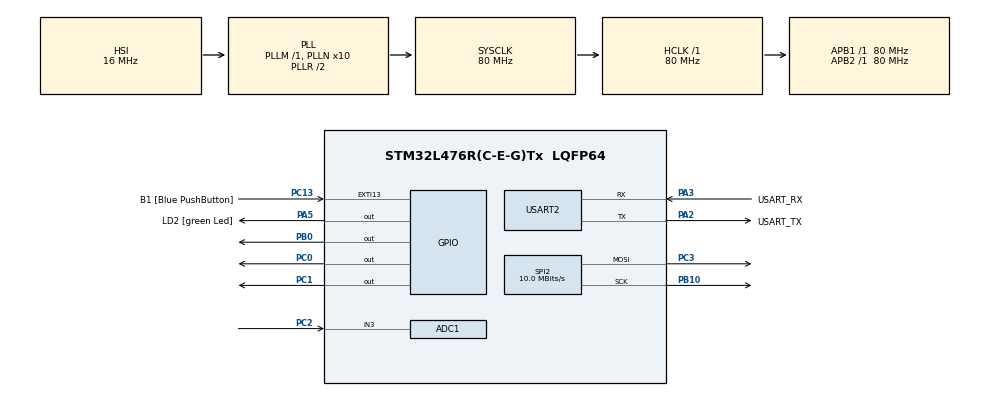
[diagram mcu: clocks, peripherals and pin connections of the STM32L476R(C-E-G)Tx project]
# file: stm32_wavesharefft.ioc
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ADC1.Channel-0\#ChannelRegularConversion=ADC_CHANNEL_3
ADC1.ExternalTrigConv=ADC_EXTERNALTRIG_T3_TRGO
ADC1.NbrOfConversionFlag=1
ADC1.OffsetNumber-0\#ChannelRegularConversion=ADC_OFFSET_NONE
ADC1.Rank-0\#ChannelRegularConversion=1
ADC1.SamplingTime-0\#ChannelRegularConversion=ADC_SAMPLETIME_2CYCLES_5
ADC1.master=1
Mcu.Family=STM32L4
Mcu.Name=STM32L476R(C-E-G)Tx
Mcu.Package=LQFP64
NVIC.ADC1_2_IRQn=true\:1\:0\:true\:false\:true\:true\:true\:true
NVIC.PriorityGroup=NVIC_PRIORITYGROUP_1
PA13\ (JTMS-SWDIO).GPIO_Label=TMS
PA13\ (JTMS-SWDIO).Mode=Serial_Wire
PA13\ (JTMS-SWDIO).Signal=SYS_JTMS-SWDIO
PA14\ (JTCK-SWCLK).GPIO_Label=TCK
PA14\ (JTCK-SWCLK).Mode=Serial_Wire
PA14\ (JTCK-SWCLK).Signal=SYS_JTCK-SWCLK
PA2.GPIO_Label=USART_TX
PA2.GPIO_Mode=GPIO_MODE_AF_PP
PA2.GPIO_PuPd=GPIO_NOPULL
PA2.GPIO_Speed=GPIO_SPEED_FREQ_VERY_HIGH
PA2.Mode=Asynchronous
PA2.Signal=USART2_TX
PA3.GPIO_Label=USART_RX
PA3.GPIO_Mode=GPIO_MODE_AF_PP
PA3.GPIO_PuPd=GPIO_NOPULL
PA3.GPIO_Speed=GPIO_SPEED_FREQ_VERY_HIGH
PA3.Mode=Asynchronous
PA3.Signal=USART2_RX
PA5.GPIO_Label=LD2 [green Led]
PA5.GPIO_ModeDefaultOutputPP=GPIO_MODE_OUTPUT_PP
PA5.GPIO_PuPd=GPIO_NOPULL
PA5.GPIO_Speed=GPIO_SPEED_FREQ_LOW
PA5.Signal=GPIO_Output
PB0.Signal=GPIO_Output
PB10.Mode=TX_Only_Simplex_Unidirect_Master
PB10.Signal=SPI2_SCK
PB3\ (JTDO-TRACESWO).GPIO_Label=SWO
PB3\ (JTDO-TRACESWO).Signal=SYS_JTDO-SWO
PC0.Signal=GPIO_Output
PC1.Signal=GPIO_Output
PC13.GPIO_Label=B1 [Blue PushButton]
PC13.GPIO_ModeDefaultEXTI=GPIO_MODE_IT_FALLING
PC13.GPIO_PuPd=GPIO_NOPULL
PC13.Signal=GPXTI13
PC14-OSC32_IN\ (PC14).Mode=LSE-External-Oscillator
PC14-OSC32_IN\ (PC14).Signal=RCC_OSC32_IN
PC15-OSC32_OUT\ (PC15).Mode=LSE-External-Oscillator
PC15-OSC32_OUT\ (PC15).Signal=RCC_OSC32_OUT
PC2.Signal=ADCx_IN3
PC3.Mode=TX_Only_Simplex_Unidirect_Master
PC3.Signal=SPI2_MOSI
PH0-OSC_IN\ (PH0).Signal=RCC_OSC_IN
PH1-OSC_OUT\ (PH1).Signal=RCC_OSC_OUT
ProjectManager.HeapSize=0x200
ProjectManager.StackSize=0x400
ProjectManager.TargetToolchain=STM32CubeIDE
RCC.ADCFreq_Value=64000000
RCC.AHBFreq_Value=80000000
RCC.APB1Freq_Value=80000000
RCC.APB1TimFreq_Value=80000000
RCC.APB2Freq_Value=80000000
RCC.APB2TimFreq_Value=80000000
RCC.CortexFreq_Value=80000000
RCC.HCLKFreq_Value=80000000
RCC.HSE_VALUE=8000000
RCC.HSI_VALUE=16000000
RCC.MSI_VALUE=4000000
RCC.PLLN=10
RCC.PLLSourceVirtual=RCC_PLLSOURCE_HSI
RCC.PREFETCH_ENABLE=1
RCC.SYSCLKFreq_VALUE=80000000
RCC.SYSCLKSource=RCC_SYSCLKSOURCE_PLLCLK
RCC.USBFreq_Value=64000000
RCC.VCOOutputFreq_Value=160000000
SH.ADCx_IN3.0=ADC1_IN3,IN3-Single-Ended
SPI2.BaudRatePrescaler=SPI_BAUDRATEPRESCALER_8
SPI2.CalculateBaudRate=10.0 MBits/s
SPI2.DataSize=SPI_DATASIZE_8BIT
SPI2.Direction=SPI_DIRECTION_2LINES
SPI2.Mode=SPI_MODE_MASTER
SPI2.VirtualType=VM_MASTER
TIM3.Period=2-1
TIM3.Prescaler=5000-1
TIM3.TIM_MasterOutputTrigger=TIM_TRGO_UPDATE
USART2.VirtualMode-Asynchronous=VM_ASYNC
VP_TIM3_VS_ClockSourceINT.Mode=Internal
board=NUCLEO-L476RG

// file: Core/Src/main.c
/* USER CODE BEGIN Header */
/**
  ******************************************************************************
  * @file           : main.c
  * @brief          : Main program body
  ******************************************************************************
  * @attention
  *
  * Copyright (c) 2024 STMicroelectronics.
  * All rights reserved.
  *
  * This software is licensed under terms that can be found in the LICENSE file
  * in the root directory of this software component.
  * If no LICENSE file comes with this software, it is provided AS-IS.
  *
  ******************************************************************************
  */
/* USER CODE END Header */
#include "main.h"
#include "adc.h"
#include "spi.h"
#include "tim.h"
#include "usart.h"
#include "gpio.h"

/* USER CODE BEGIN Includes */
#include "st7735.h"
#include "fft.h"
#include <math.h>
#include <stdio.h>
#include <stdbool.h>
/* USER CODE END Includes */

/* USER CODE BEGIN PD */
#define FFT_LENGTH		8
#define SAMPLING_RATE	8000
/* USER CODE END PD */

/* USER CODE BEGIN PV */
volatile bool adc_conv_cplt;
/* USER CODE END PV */

void SystemClock_Config(void);

/* USER CODE BEGIN 0 */
void HAL_ADC_ConvCpltCallback (ADC_HandleTypeDef * hadc)
{
	adc_conv_cplt = true;
}
/* USER CODE END 0 */

int main(void)
{

  /* MCU Configuration--------------------------------------------------------*/

  /* Reset of all peripherals, Initializes the Flash interface and the Systick. */
  HAL_Init();

  /* Configure the system clock */
  SystemClock_Config();

  /* Initialize all configured peripherals */
  MX_GPIO_Init();
  MX_USART2_UART_Init();
  MX_SPI2_Init();
  MX_ADC1_Init();
  MX_TIM3_Init();
  /* USER CODE BEGIN 2 */
  float fft_in[FFT_LENGTH] = {1, 2, 3, 4, 5, 6, 7};
  float fft_out[FFT_LENGTH*2];
  float fft_mag[FFT_LENGTH];
  uint16_t adc_value;
  uint8_t voltage_index = 0;

  HAL_TIM_Base_Start(&htim3);
  HAL_ADC_Start_IT(&hadc1);

  FFT_Init(FFT_LENGTH);
  ST7735_Init();
  ST7735_Clear();
  ST7735_Update();

  /* USER CODE END 2 */

  /* Infinite loop */
  /* USER CODE BEGIN WHILE */
  while (1)
  {
	  if (adc_conv_cplt == true) {
		  adc_conv_cplt = false;
		  adc_value = HAL_ADC_GetValue(&hadc1);
		  fft_in[voltage_index++] = (3.3f * adc_value) / 4096.0;
	  }

	  if (voltage_index == FFT_LENGTH) {
		  voltage_index = 0;
		  FFT_Compute(fft_in, fft_out);
		  FFT_Magnitude(fft_out, fft_mag);
		  array_scale(fft_mag, FFT_LENGTH, 1.0/FFT_LENGTH);
		  ST7735_Clear();
		  ST7735_DrawFFT(fft_mag, FFT_LENGTH, SAMPLING_RATE, BLUE);
		  ST7735_Update();
	  }

    /* USER CODE END WHILE */

  }
}

void SystemClock_Config(void)
{
  RCC_OscInitTypeDef RCC_OscInitStruct = {0};
  RCC_ClkInitTypeDef RCC_ClkInitStruct = {0};

  /** Configure the main internal regulator output voltage
  */
  if (HAL_PWREx_ControlVoltageScaling(PWR_REGULATOR_VOLTAGE_SCALE1) != HAL_OK)
  {
    Error_Handler();
  }

  /** Initializes the RCC Oscillators according to the specified parameters
  * in the RCC_OscInitTypeDef structure.
  */
  RCC_OscInitStruct.OscillatorType = RCC_OSCILLATORTYPE_HSI;
  RCC_OscInitStruct.HSIState = RCC_HSI_ON;
  RCC_OscInitStruct.HSICalibrationValue = RCC_HSICALIBRATION_DEFAULT;
  RCC_OscInitStruct.PLL.PLLState = RCC_PLL_ON;
  RCC_OscInitStruct.PLL.PLLSource = RCC_PLLSOURCE_HSI;
  RCC_OscInitStruct.PLL.PLLM = 1;
  RCC_OscInitStruct.PLL.PLLN = 10;
  RCC_OscInitStruct.PLL.PLLP = RCC_PLLP_DIV7;
  RCC_OscInitStruct.PLL.PLLQ = RCC_PLLQ_DIV2;
  RCC_OscInitStruct.PLL.PLLR = RCC_PLLR_DIV2;
  if (HAL_RCC_OscConfig(&RCC_OscInitStruct) != HAL_OK)
  {
    Error_Handler();
  }

  /** Initializes the CPU, AHB and APB buses clocks
  */
  RCC_ClkInitStruct.ClockType = RCC_CLOCKTYPE_HCLK|RCC_CLOCKTYPE_SYSCLK
                              |RCC_CLOCKTYPE_PCLK1|RCC_CLOCKTYPE_PCLK2;
  RCC_ClkInitStruct.SYSCLKSource = RCC_SYSCLKSOURCE_PLLCLK;
  RCC_ClkInitStruct.AHBCLKDivider = RCC_SYSCLK_DIV1;
  RCC_ClkInitStruct.APB1CLKDivider = RCC_HCLK_DIV1;
  RCC_ClkInitStruct.APB2CLKDivider = RCC_HCLK_DIV1;

  if (HAL_RCC_ClockConfig(&RCC_ClkInitStruct, FLASH_LATENCY_4) != HAL_OK)
  {
    Error_Handler();
  }
}

void Error_Handler(void)
{
  __disable_irq();
  while (1)
  {
  }
}
